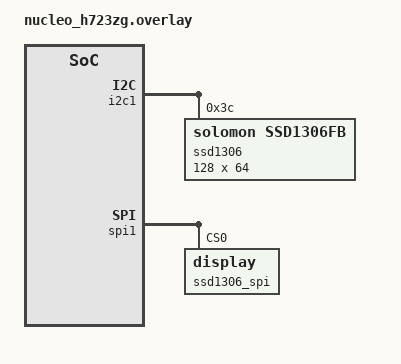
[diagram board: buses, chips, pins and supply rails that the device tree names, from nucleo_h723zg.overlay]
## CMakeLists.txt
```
cmake_minimum_required(VERSION 3.22)
set(BOARD nucleo_h723zg)

find_package(Zephyr)
project(zephyr_ssd1306)

target_sources(app PRIVATE src/main.c)

# set(-DCOMPILE_DATE "\"$(date +'%Y-%m-%d')\"")
# set(-DCOMPILE_TIME "\"$(date +'%H:%M:%S')\"")

# Define compile-time constants
string(TIMESTAMP COMPILE_DATE "%Y-%m-%d")
string(TIMESTAMP COMPILE_TIME "%H:%M:%S")

# Pass these definitions to the compiler
add_definitions(-DCOMPILE_DATE="${COMPILE_DATE}")
add_definitions(-DCOMPILE_TIME="${COMPILE_TIME}")
```

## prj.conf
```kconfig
CONFIG_I2C=y
CONFIG_DISPLAY=y
CONFIG_SSD1306=y
# From Zephyr 3.5.0 CONFIG_SSD1306_DEFAULT is no longer used
# CONFIG_SSD1306_DEFAULT=y
CONFIG_SSD1306_DEFAULT_CONTRAST=128
CONFIG_LOG=y
CONFIG_CHARACTER_FRAMEBUFFER=y
CONFIG_HEAP_MEM_POOL_SIZE=4096

CONFIG_SPI=y
# CONFIG_DISPLAY=y
# CONFIG_SSD1309=y
# CONFIG_DISPLAY_SSD1309_SPI=y
# CONFIG_SSD1306=y
# CONFIG_DISPLAY_SSD1306_SPI=y

# CONFIG_USE_STM32_ASSERT=y
```

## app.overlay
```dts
&i2c1 {
      ssd1306: ssd1306@3c {
      	       compatible = "solomon,ssd1306fb";
	       reg = <0x3c>;
	       height = <64>;
	       width = <128>;
	       segment-offset = <0>;
	       page-offset = <0>;
	       display-offset = <0>;
	       multiplex-ratio = <63>;
	       prechargep = <0x22>;
	       com-invdir;
	       segment-remap;
      };
};
```

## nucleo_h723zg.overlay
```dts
&i2c1 {
	ssd1306: ssd1306@3c {
		compatible = "solomon,ssd1306fb";
		reg = <0x3c>;
		height = <64>;
		width = <128>;
		segment-offset = <0>;
		page-offset = <0>;
		display-offset = <0>;
		multiplex-ratio = <63>;
		prechargep = <0x22>;
		//    com-invdir;
		//    segment-remap;
	};
};

&spi1 {
//   status = "okay";
  ssd1306_spi: display@0 {
//     compatible = "solomon,ssd1306fb";
    reg = <0>;
//     spi-max-frequency = <8000000>; // 8 MHz
//     // dc-gpios = <&gpioc 3 GPIO_ACTIVE_LOW>; // Example pin
//     // reset-gpios = <&gpioc 4 GPIO_ACTIVE_LOW>; // Example pin
  };
};

/ {
	aliases {
		i2c0 = &i2c1;
	};
};
```

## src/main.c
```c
// #include <stdint.h>
#include <stdio.h>
#include <zephyr/device.h>
#include <zephyr/kernel.h>
// #include <zephyr/drivers/display.h>
#include <zephyr/display/cfb.h>
#include <zephyr/logging/log.h>

#define DISPLAY_BUFFER_PITCH 128

LOG_MODULE_REGISTER(display_1);

static const struct device *display_1 = DEVICE_DT_GET(DT_NODELABEL(ssd1306));

void main(void)
{
  if (display_1 == NULL) {
    LOG_ERR("device pointer is NULL");
    return;
  }

  if (!device_is_ready(display_1)) {
    LOG_ERR("display_1 device is not ready");
    return;
  }

  int ret;
  ret = cfb_framebuffer_init(display_1);
  if (ret != 0)
  {
    LOG_ERR("Could not initialise display_1");
    return;
  }

  char display_buffer[128];
  ret = cfb_print(display_1, "compiled at:", 0, 0);
  snprintf(display_buffer, sizeof(display_buffer), "%s", COMPILE_DATE);
  ret = cfb_print(display_1, display_buffer, 0, 20);
  snprintf(display_buffer, sizeof(display_buffer), "%s", COMPILE_TIME);
  ret = cfb_print(display_1, display_buffer, 0, 40);
  if (ret != 0)
  {
    LOG_ERR("Could not print to display_1");
    return;
  }
  
  ret = cfb_framebuffer_finalize(display_1);
  if (ret != 0)
  {
    LOG_ERR("Could not finalise to display_1");
    return;
  }
}
```
